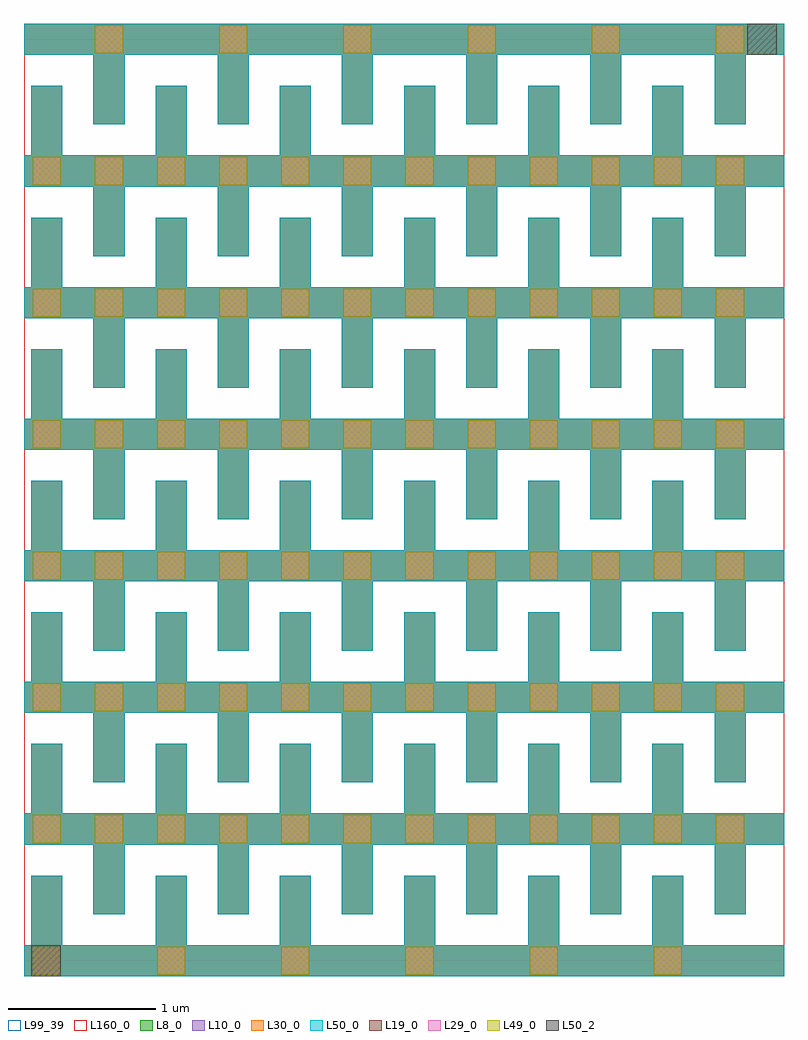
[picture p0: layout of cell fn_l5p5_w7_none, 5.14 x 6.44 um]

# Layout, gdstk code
import gdstk
lib = gdstk.Library(unit=1e-6, precision=1e-09)
def R(c, l, rs):  # rectangles x0, y0, x1, y1
    for r in rs: c.add(gdstk.rectangle(r[:2], r[2:], *l))
def A(c, l, x, y, w, h, nx, ny, dx, dy):  # array of equal rectangles
    R(c, l, [(x+i*dx, y+j*dy, x+i*dx+w, y+j*dy+h) for i in range(nx) for j in range(ny)])
L8_0 = (8, 0)
L10_0 = (10, 0)
L19_0 = (19, 0)
L29_0 = (29, 0)
L30_0 = (30, 0)
L49_0 = (49, 0)
L50_0 = (50, 0)
L50_2 = (50, 2)
L99_39 = (99, 39)
L160_0 = (160, 0)

fn_l5p5_w7_none = lib.new_cell('fn_l5p5_w7_none')
A(fn_l5p5_w7_none, L8_0, -0.05, -0.105, 5.14, 0.21, 1, 8, 0, 0.89)
A(fn_l5p5_w7_none, L8_0, 0, 0, 0.21, 0.575, 6, 7, 0.84, 0.89)
A(fn_l5p5_w7_none, L8_0, 0.42, 0.315, 0.21, 0.575, 6, 7, 0.84, 0.89)
A(fn_l5p5_w7_none, L10_0, -0.05, -0.105, 5.14, 0.21, 1, 8, 0, 0.89)
A(fn_l5p5_w7_none, L10_0, 0, 0, 0.21, 0.575, 6, 7, 0.84, 0.89)
A(fn_l5p5_w7_none, L10_0, 0.42, 0.315, 0.21, 0.575, 6, 7, 0.84, 0.89)
A(fn_l5p5_w7_none, L19_0, 0.01, -0.095, 0.19, 0.19, 6, 1, 0.84, 0)
A(fn_l5p5_w7_none, L19_0, 0.01, 0.795, 0.19, 0.19, 12, 6, 0.42, 0.89)
A(fn_l5p5_w7_none, L19_0, 0.43, 6.135, 0.19, 0.19, 6, 1, 0.84, 0)
A(fn_l5p5_w7_none, L29_0, 0.01, -0.095, 0.19, 0.19, 6, 1, 0.84, 0)
A(fn_l5p5_w7_none, L29_0, 0.01, 0.795, 0.19, 0.19, 12, 6, 0.42, 0.89)
A(fn_l5p5_w7_none, L29_0, 0.43, 6.135, 0.19, 0.19, 6, 1, 0.84, 0)
A(fn_l5p5_w7_none, L30_0, -0.05, -0.105, 5.14, 0.21, 1, 8, 0, 0.89)
A(fn_l5p5_w7_none, L30_0, 0, 0, 0.21, 0.575, 6, 7, 0.84, 0.89)
A(fn_l5p5_w7_none, L30_0, 0.42, 0.315, 0.21, 0.575, 6, 7, 0.84, 0.89)
A(fn_l5p5_w7_none, L49_0, 0.01, -0.095, 0.19, 0.19, 6, 1, 0.84, 0)
A(fn_l5p5_w7_none, L49_0, 0.01, 0.795, 0.19, 0.19, 12, 6, 0.42, 0.89)
A(fn_l5p5_w7_none, L49_0, 0.43, 6.135, 0.19, 0.19, 6, 1, 0.84, 0)
A(fn_l5p5_w7_none, L50_0, -0.05, -0.105, 5.14, 0.21, 1, 8, 0, 0.89)
A(fn_l5p5_w7_none, L50_0, 0, 0, 0.21, 0.575, 6, 7, 0.84, 0.89)
A(fn_l5p5_w7_none, L50_0, 0.42, 0.315, 0.21, 0.575, 6, 7, 0.84, 0.89)
R(fn_l5p5_w7_none, L50_2, [(0,-0.105,0.2,0.105), (4.84,6.125,5.04,6.335)])
R(fn_l5p5_w7_none, L99_39, [(-0.05,0,5.09,6.23)])
R(fn_l5p5_w7_none, L160_0, [(-0.05,0,5.09,6.23)])
fn_l5p5_w7_none.add(gdstk.Label('cap_cmomi C=34.225fF', (-0.05,-0.5), layer=63, texttype=0))

lib.write_gds('fn_l5p5_w7_none.gds')
